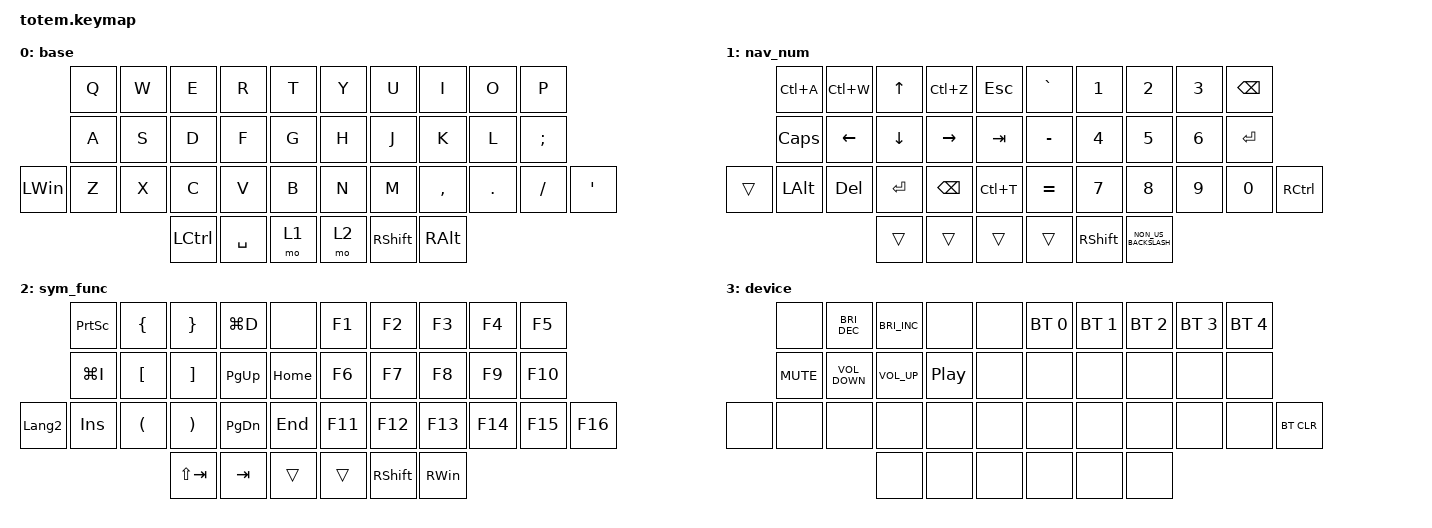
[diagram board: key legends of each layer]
//
//                                                        ▀▀▀▀▀     ▀▀▀▀▀          ▀▀█▀▀
//                                                        ▄▀▀▀▄  ▄  ▄▀▀▀▄  ▄  ▄▀▀▀▄  █  ▄▀▀▀▄
//                                                        █   █  █  █   █  █  █   █  █  █   █
//                                                         ▀▀▀   █   ▀▀▀   █   ▀▀▀   ▀   ▀▀▀
//                                                               █      ▄▄▄█▄▄▄    █   █  
//                                                               ▀      █  █  █     █▄█
//                                                             ▀▀▀▀▀    █  █  █      ▀
//                                                                      ▀  ▀  ▀
//
// ▄▄▄▄▄▄▄▄▄▄▄▄▄▄▄▄▄▄▄▄▄▄▄▄▄▄▄▄▄▄▄▄▄▄▄▄▄▄▄▄▄▄▄▄▄▄▄▄▄▄▄▄▄▄▄▄▄▄▄▄▄▄▄▄▄▄▄▄▄▄▄▄▄▄▄▄▄▄▄▄▄▄▄▄▄▄▄▄▄▄▄▄▄▄▄▄▄▄▄▄▄▄▄▄▄▄▄▄▄▄▄▄▄▄▄▄▄▄▄▄▄▄▄▄▄▄▄▄▄▄▄▄▄▄▄▄▄▄▄▄▄▄▄▄▄▄▄▄▄

#include <behaviors.dtsi>
#include <dt-bindings/zmk/bt.h>
#include <dt-bindings/zmk/keys.h>

/ {
    keymap {
        compatible = "zmk,keymap";

        base {
            bindings = <
          &kp Q  &kp W  &kp E      &kp R      &kp T    &kp Y  &kp U            &kp I          &kp O    &kp P
          &kp A  &kp S  &kp D      &kp F      &kp G    &kp H  &kp J            &kp K          &kp L    &kp SEMI
&kp LWIN  &kp Z  &kp X  &kp C      &kp V      &kp B    &kp N  &kp M            &kp COMMA      &kp DOT  &kp FSLH  &kp APOS
                        &kp LCTRL  &kp SPACE  &mo 1    &mo 2  &kp RIGHT_SHIFT  &kp RIGHT_ALT
            >;
        };

        nav_num {
            bindings = <
        &kp LC(A)     &kp LC(W)   &kp UP     &kp LC(Z)      &kp ESCAPE    &kp GRAVE  &kp NUMBER_1     &kp NUMBER_2          &kp NUMBER_3  &kp BACKSPACE
        &kp CAPS      &kp LEFT    &kp DOWN   &kp RIGHT      &kp TAB       &kp MINUS  &kp NUMBER_4     &kp N5                &kp NUMBER_6  &kp ENTER
&trans  &kp LEFT_ALT  &kp DELETE  &kp ENTER  &kp BACKSPACE  &kp LC(T)     &kp EQUAL  &kp N7           &kp N8                &kp N9        &kp N0         &kp RCTRL
                                  &trans     &trans         &trans        &trans     &kp RIGHT_SHIFT  &kp NON_US_BACKSLASH
            >;
        };

        sym_func {
            bindings = <
                &kp PRINTSCREEN  &kp LEFT_BRACE        &kp RIGHT_BRACE        &kp LG(D)      &none       &kp F1   &kp F2           &kp F3    &kp F4   &kp F5
                &kp LG(I)        &kp LBKT              &kp RBKT               &kp PG_UP      &kp HOME    &kp F6   &kp F7           &kp F8    &kp F9   &kp F10
&kp LANGUAGE_2  &kp INS          &kp LEFT_PARENTHESIS  &kp RIGHT_PARENTHESIS  &kp PAGE_DOWN  &kp END     &kp F11  &kp F12          &kp F13   &kp F14  &kp F15  &kp F16
                                                       &kp LS(TAB)            &kp TAB        &trans      &trans   &kp RIGHT_SHIFT  &kp RWIN
            >;
        };

        device {
            bindings = <
       &none       &kp C_BRIGHTNESS_DEC  &kp C_BRIGHTNESS_INC  &none             &none    &bt BT_SEL 0  &bt BT_SEL 1  &bt BT_SEL 2  &bt BT_SEL 3  &bt BT_SEL 4
       &kp K_MUTE  &kp C_VOLUME_DOWN     &kp C_VOLUME_UP       &kp C_PLAY_PAUSE  &none    &none         &none         &none         &none         &none
&none  &none       &none                 &none                 &none             &none    &none         &none         &none         &none         &none         &bt BT_CLR
                                         &none                 &none             &none    &none         &none         &none
            >;
        };

        extra1 { status = "reserved"; };

        extra2 { status = "reserved"; };

        extra3 { status = "reserved"; };
    };

    conditional_layers {
        compatible = "zmk,conditional-layers";

        device {
            if-layers = <1 2>;
            then-layer = <3>;
        };
    };
};
